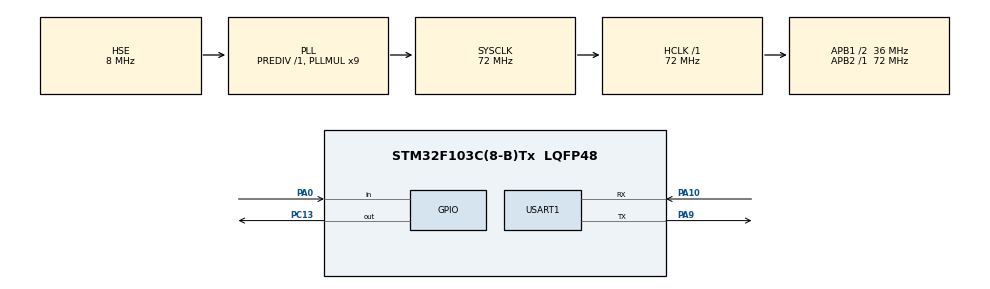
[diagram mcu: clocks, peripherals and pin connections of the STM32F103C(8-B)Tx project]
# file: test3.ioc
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Mcu.Family=STM32F1
Mcu.Name=STM32F103C(8-B)Tx
Mcu.Package=LQFP48
NVIC.PriorityGroup=NVIC_PRIORITYGROUP_4
NVIC.USART1_IRQn=true\:0\:0\:false\:false\:true\:true\:true\:true
PA0.Signal=GPIO_Input
PA10.Mode=Asynchronous
PA10.Signal=USART1_RX
PA13.Mode=Serial_Wire
PA13.Signal=SYS_JTMS-SWDIO
PA14.Mode=Serial_Wire
PA14.Signal=SYS_JTCK-SWCLK
PA9.Mode=Asynchronous
PA9.Signal=USART1_TX
PC13.Signal=GPIO_Output
PD0-OSC_IN.Mode=HSE-External-Oscillator
PD0-OSC_IN.Signal=RCC_OSC_IN
PD1-OSC_OUT.Mode=HSE-External-Oscillator
PD1-OSC_OUT.Signal=RCC_OSC_OUT
ProjectManager.HeapSize=0x200
ProjectManager.StackSize=0x400
ProjectManager.TargetToolchain=CMake
RCC.AHBFreq_Value=72000000
RCC.APB1CLKDivider=RCC_HCLK_DIV2
RCC.APB1Freq_Value=36000000
RCC.APB1TimFreq_Value=72000000
RCC.APB2Freq_Value=72000000
RCC.APB2TimFreq_Value=72000000
RCC.HCLKFreq_Value=72000000
RCC.PLLMUL=RCC_PLL_MUL9
RCC.PLLSourceVirtual=RCC_PLLSOURCE_HSE
RCC.SYSCLKFreq_VALUE=72000000
RCC.SYSCLKSource=RCC_SYSCLKSOURCE_PLLCLK
RCC.USBFreq_Value=72000000
USART1.VirtualMode=VM_ASYNC
board=custom

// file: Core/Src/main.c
/* USER CODE BEGIN Header */
/**
  ******************************************************************************
  * @file           : main.c
  * @brief          : 第三题《CAN 通信》主程序（主机/从机 通过宏切换）
  ******************************************************************************
  * 主机：按 PA0(对GND瞬时短接) → CAN 发 0x11(ID=0x111)；收到 0x22(ID=0x222) → 串口打印。
  * 从机：收到 0x11 → CAN 回 0x22(ID=0x222) + 翻转 PC13 LED。
  * 角色：编译时 -DNODE_ROLE=0(主机,默认) 或 -DNODE_ROLE=1(从机)。
  ******************************************************************************
  */
/* USER CODE END Header */
#include "main.h"
#include "can.h"
#include "usart.h"
#include "gpio.h"

/* USER CODE BEGIN Includes */
#include <stdio.h>
#include <string.h>
/* USER CODE END Includes */

/* USER CODE BEGIN PD */

/* ============================================================================
 *  角色选择：只改下面这一行！
 *      主机（默认）: #define NODE_ROLE  NODE_ROLE_MASTER
 *      从机        : #define NODE_ROLE  NODE_ROLE_SLAVE
 *  改完直接重新编译 + 烧录即可，不需要改任何 CMake 参数。
 * ========================================================================== */
#define NODE_ROLE_MASTER 0u
#define NODE_ROLE_SLAVE  1u
#define NODE_ROLE  NODE_ROLE_SLAVE      /* ← 从机改成 NODE_ROLE_SLAVE */

/* CAN 工作模式开关在 Core/Inc/can.h 里（单板回环自测时改成 CAN_MODE_LOOPBACK） */

/* CAN 报文 ID（标准帧）与数据、波特率 */
#define CAN_ID_MASTER2SLAVE 0x111u
#define CAN_ID_SLAVE2MASTER 0x222u
#define CAN_BAUDRATE        500000u

/* 排查用：打印 CAN 关键寄存器（跑通后可改成 0u 关掉） */
#define CAN_DEBUG_DUMP      1u

/* USER CODE END PD */

/* USER CODE BEGIN PV */

static volatile can_msg_t g_rx;        /* 回调暂存：最近一帧 */
static volatile uint8_t   g_rx_flag;   /* 1=有新帧待处理 */
static uint8_t            s_busoff;    /* Bus-Off 状态（用于只打印一次） */

/* USER CODE END PV */

void SystemClock_Config(void);

/* USER CODE BEGIN 0 */

/* 串口工具：直接发送字符串 */
static void uart_print(const char *s)
{
    HAL_UART_Transmit(&huart1, (uint8_t *)s, (uint16_t)strlen(s), 100u);
}

#if CAN_DEBUG_DUMP
/* 打印 CAN 寄存器，用于排查：MCR.INRQ=0 表示已退出初始化；MCR.LBKM=1 表示回环；
 * IER=0x02 表示 FIFO0 中断已使能；RF0R.FMP0 是 FIFO0 里待取帧数；TSR.TXOK0 表示发成功 */
static void can_dump_regs(const char *tag)
{
    char b[140];
    int  n = sprintf(b,
        "[reg]%s MCR=%08lX MSR=%08lX TSR=%08lX RF0R=%08lX IER=%08lX ESR=%08lX BTR=%08lX\r\n",
        tag,
        (unsigned long)CAN1->MCR, (unsigned long)CAN1->MSR, (unsigned long)CAN1->TSR,
        (unsigned long)CAN1->RF0R, (unsigned long)CAN1->IER, (unsigned long)CAN1->ESR,
        (unsigned long)CAN1->BTR);
    HAL_UART_Transmit(&huart1, (uint8_t *)b, (uint16_t)n, 100u);
}
#endif

/* CAN 接收回调（在 CAN 中断上下文调用）：只拷贝并置标志，具体处理放到主循环 */
static void app_can_rx(const can_msg_t *m)
{
    g_rx      = *m;
    g_rx_flag = 1u;
}

/* USER CODE END 0 */

int main(void)
{
  /* MCU Configuration--------------------------------------------------------*/
  HAL_Init();
  SystemClock_Config();

  /* Initialize all configured peripherals */
  MX_GPIO_Init();
  MX_USART1_UART_Init();
  /* USER CODE BEGIN 2 */

  led_init();
  can_register_rx_callback(app_can_rx);

  if (can_init(CAN_BAUDRATE) != 0u)
  {
      uart_print("CAN init FAIL\r\n");
      while (1) { }
  }

  uart_print("\r\n=== 3rd: CAN comm ===\r\n");
  uart_print(NODE_ROLE == NODE_ROLE_MASTER ? "[role] MASTER\r\n" : "[role] SLAVE\r\n");
  uart_print("[can ] 500kbps, ID 0x111->0x222\r\n");
#if CAN_DEBUG_DUMP
  can_dump_regs("init");
#endif
  if (NODE_ROLE == NODE_ROLE_MASTER)
  {
      uart_print("[key ] touch PA0 to GND to send 0x11\r\n");
  }
  else
  {
      uart_print("[slv ] waits for 0x11, reply 0x22 + toggle LED\r\n");
  }

  while (1)
  {
    /* ⓪ 轮询接收（不依赖中断，保证不漏帧） */
    can_poll();

    /* ① 处理收到的 CAN 帧 */
    if (g_rx_flag)
    {
        g_rx_flag = 0u;
#if CAN_DEBUG_DUMP
        can_dump_regs("rx");
#endif
        if (NODE_ROLE == NODE_ROLE_MASTER)
        {
            /* 打印收到的任何 CAN 帧（带 ID，便于排查）；其中 0x222 就是从机的应答 */
            char buf[56];
            int  n = sprintf(buf, "[M] CAN RX: id=0x%03X dlc=%u d0=0x%02X\r\n",
                             (unsigned)g_rx.id, (unsigned)g_rx.dlc, (unsigned)g_rx.data[0]);
            HAL_UART_Transmit(&huart1, (uint8_t *)buf, (uint16_t)n, 100u);
        }
        else /* SLAVE */
        {
            /* 主机发来的数据：0x11 → 回 0x22 + 翻转 LED（题目要求第 4 条） */
            if ((g_rx.id == CAN_ID_MASTER2SLAVE) && (g_rx.dlc == 1u) && (g_rx.data[0] == 0x11u))
            {
                uint8_t d = 0x22u;
                uart_print("[S] CAN RX: 0x11\r\n");
                if (can_send(CAN_ID_SLAVE2MASTER, &d, 1u) == 0u)
                {
                    uart_print("[S] CAN TX: 0x22\r\n");
                }
                led_toggle();
            }
        }
    }

    /* ② 主机：按键(PA0 对 GND)触发发送 */
    if ((NODE_ROLE == NODE_ROLE_MASTER) && key_read())
    {
        HAL_Delay(20u);                       /* 消抖 */
        if (key_read())
        {
            uint8_t d = 0x11u;
            uart_print("[M] key\r\n");
            if (can_send(CAN_ID_MASTER2SLAVE, &d, 1u) == 0u)
            {
                uart_print("[M] CAN TX: 0x11\r\n");
            }
#if CAN_DEBUG_DUMP
            HAL_Delay(5u);
            can_dump_regs("tx");
#endif
            while (key_read()) { HAL_Delay(5u); }   /* 等按键松开 */
        }
    }

    /* ③ 总线异常（Bus-Off）：只在状态变化时打印一次，避免刷屏 */
    if (can_is_busoff())
    {
        if (!s_busoff)
        {
            s_busoff = 1u;
            uart_print("[can ] BUS-OFF: no ACK -> check 2nd node running, "
                       "CANH<->CANH, CANL<->CANL, common GND, 120ohm, module 5V\r\n");
        }
        can_recover();
        HAL_Delay(200u);
    }
    else if (s_busoff)
    {
        s_busoff = 0u;
        uart_print("[can ] recovered\r\n");
    }
  }
}

void SystemClock_Config(void)
{
  RCC_OscInitTypeDef RCC_OscInitStruct = {0};
  RCC_ClkInitTypeDef RCC_ClkInitStruct = {0};

  RCC_OscInitStruct.OscillatorType = RCC_OSCILLATORTYPE_HSE;
  RCC_OscInitStruct.HSEState = RCC_HSE_ON;
  RCC_OscInitStruct.HSEPredivValue = RCC_HSE_PREDIV_DIV1;
  RCC_OscInitStruct.HSIState = RCC_HSI_ON;
  RCC_OscInitStruct.PLL.PLLState = RCC_PLL_ON;
  RCC_OscInitStruct.PLL.PLLSource = RCC_PLLSOURCE_HSE;
  RCC_OscInitStruct.PLL.PLLMUL = RCC_PLL_MUL9;
  if (HAL_RCC_OscConfig(&RCC_OscInitStruct) != HAL_OK)
  {
    Error_Handler();
  }

  RCC_ClkInitStruct.ClockType = RCC_CLOCKTYPE_HCLK|RCC_CLOCKTYPE_SYSCLK
                              |RCC_CLOCKTYPE_PCLK1|RCC_CLOCKTYPE_PCLK2;
  RCC_ClkInitStruct.SYSCLKSource = RCC_SYSCLKSOURCE_PLLCLK;
  RCC_ClkInitStruct.AHBCLKDivider = RCC_SYSCLK_DIV1;
  RCC_ClkInitStruct.APB1CLKDivider = RCC_HCLK_DIV2;
  RCC_ClkInitStruct.APB2CLKDivider = RCC_HCLK_DIV1;

  if (HAL_RCC_ClockConfig(&RCC_ClkInitStruct, FLASH_LATENCY_2) != HAL_OK)
  {
    Error_Handler();
  }
}

void Error_Handler(void)
{
  __disable_irq();
  while (1)
  {
  }
}
